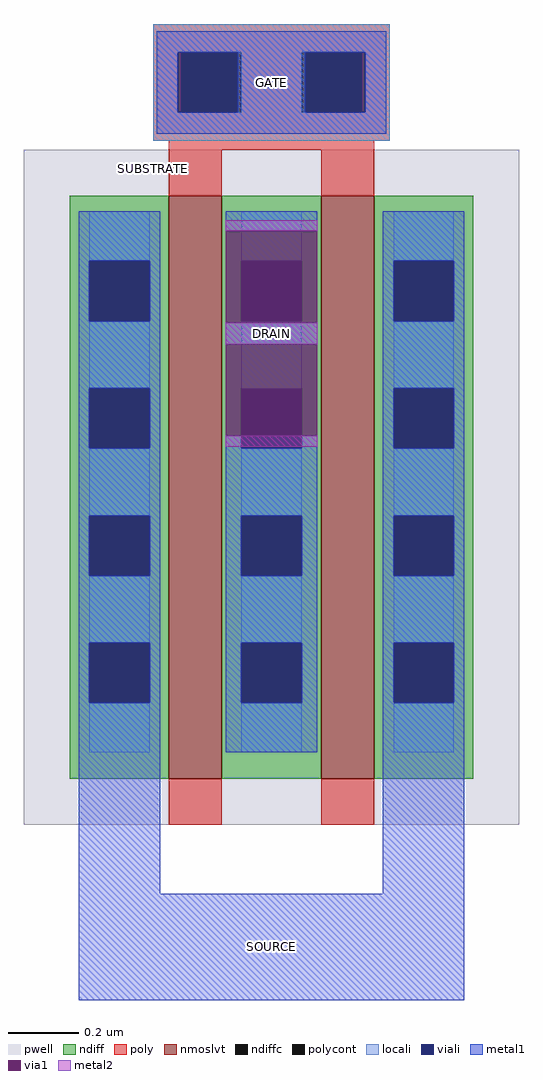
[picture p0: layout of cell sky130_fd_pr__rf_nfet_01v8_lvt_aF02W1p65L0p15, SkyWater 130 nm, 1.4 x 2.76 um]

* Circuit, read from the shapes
.subckt sky130_fd_pr__rf_nfet_01v8_lvt_aF02W1p65L0p15 DRAIN SOURCE GATE SUBSTRATE
XM1 DRAIN GATE SOURCE SUBSTRATE sky130_fd_pr__nfet_01v8_lvt w=1.65 l=0.15 m=2
.ends

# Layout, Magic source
magic
tech sky130A
magscale 1 2
<< pwell >>
rect 10 10 290 392
<< nmoslvt >>
rect 92 36 122 366
rect 178 36 208 366
<< ndiff >>
rect 36 329 92 366
rect 36 295 47 329
rect 81 295 92 329
rect 36 257 92 295
rect 36 223 47 257
rect 81 223 92 257
rect 36 185 92 223
rect 36 151 47 185
rect 81 151 92 185
rect 36 113 92 151
rect 36 79 47 113
rect 81 79 92 113
rect 36 36 92 79
rect 122 329 178 366
rect 122 295 133 329
rect 167 295 178 329
rect 122 257 178 295
rect 122 223 133 257
rect 167 223 178 257
rect 122 185 178 223
rect 122 151 133 185
rect 167 151 178 185
rect 122 113 178 151
rect 122 79 133 113
rect 167 79 178 113
rect 122 36 178 79
rect 208 329 264 366
rect 208 295 219 329
rect 253 295 264 329
rect 208 257 264 295
rect 208 223 219 257
rect 253 223 264 257
rect 208 185 264 223
rect 208 151 219 185
rect 253 151 264 185
rect 208 113 264 151
rect 208 79 219 113
rect 253 79 264 113
rect 208 36 264 79
<< ndiffc >>
rect 47 295 81 329
rect 47 223 81 257
rect 47 151 81 185
rect 47 79 81 113
rect 133 295 167 329
rect 133 223 167 257
rect 133 151 167 185
rect 133 79 167 113
rect 219 295 253 329
rect 219 223 253 257
rect 219 151 253 185
rect 219 79 253 113
<< poly >>
rect 83 447 217 463
rect 83 413 99 447
rect 133 413 167 447
rect 201 413 217 447
rect 83 397 217 413
rect 92 392 208 397
rect 92 366 122 392
rect 178 366 208 392
rect 92 10 122 36
rect 178 10 208 36
<< polycont >>
rect 99 413 133 447
rect 167 413 201 447
<< locali >>
rect 83 447 217 463
rect 83 413 97 447
rect 133 413 167 447
rect 203 413 217 447
rect 83 397 217 413
rect 47 329 81 357
rect 47 257 81 295
rect 47 185 81 223
rect 47 113 81 151
rect 47 51 81 79
rect 133 329 167 357
rect 133 257 167 295
rect 133 185 167 223
rect 133 113 167 151
rect 133 51 167 79
rect 219 329 253 357
rect 219 257 253 295
rect 219 185 253 223
rect 219 113 253 151
rect 219 51 253 79
<< viali >>
rect 97 413 99 447
rect 99 413 131 447
rect 169 413 201 447
rect 201 413 203 447
rect 47 295 81 329
rect 47 223 81 257
rect 47 151 81 185
rect 47 79 81 113
rect 133 295 167 329
rect 133 223 167 257
rect 133 151 167 185
rect 133 79 167 113
rect 219 295 253 329
rect 219 223 253 257
rect 219 151 253 185
rect 219 79 253 113
<< metal1 >>
rect 85 447 215 459
rect 85 413 97 447
rect 131 413 169 447
rect 203 413 215 447
rect 85 401 215 413
rect 41 329 87 357
rect 41 295 47 329
rect 81 295 87 329
rect 41 257 87 295
rect 41 223 47 257
rect 81 223 87 257
rect 41 185 87 223
rect 41 151 47 185
rect 81 151 87 185
rect 41 113 87 151
rect 41 79 47 113
rect 81 79 87 113
rect 41 -29 87 79
rect 124 346 176 357
rect 124 282 176 294
rect 124 223 133 230
rect 167 223 176 230
rect 124 185 176 223
rect 124 151 133 185
rect 167 151 176 185
rect 124 113 176 151
rect 124 79 133 113
rect 167 79 176 113
rect 124 51 176 79
rect 213 329 259 357
rect 213 295 219 329
rect 253 295 259 329
rect 213 257 259 295
rect 213 223 219 257
rect 253 223 259 257
rect 213 185 259 223
rect 213 151 219 185
rect 253 151 259 185
rect 213 113 259 151
rect 213 79 219 113
rect 253 79 259 113
rect 213 -29 259 79
rect 41 -89 259 -29
<< via1 >>
rect 124 329 176 346
rect 124 295 133 329
rect 133 295 167 329
rect 167 295 176 329
rect 124 294 176 295
rect 124 257 176 282
rect 124 230 133 257
rect 133 230 167 257
rect 167 230 176 257
<< metal2 >>
rect 124 346 176 352
rect 124 282 176 294
rect 124 224 176 230
<< labels >>
flabel metal2 s 124 224 176 352 0 FreeSans 400 0 0 0 DRAIN
port 1 nsew
flabel metal1 s 41 -89 259 -29 0 FreeSans 400 0 0 0 SOURCE
port 2 nsew
flabel metal1 s 85 401 215 459 0 FreeSans 400 0 0 0 GATE
port 3 nsew
flabel pwell s 78 373 88 389 0 FreeSans 200 0 0 0 SUBSTRATE
port 4 nsew
<< properties >>
string GDS_FILE $PDKPATH/libs.ref/sky130_fd_pr/gds/sky130_fd_pr.gds
string GDS_END 5825626
string GDS_START 5821004
string path 1.600 8.925 1.600 -2.225 
<< end >>
